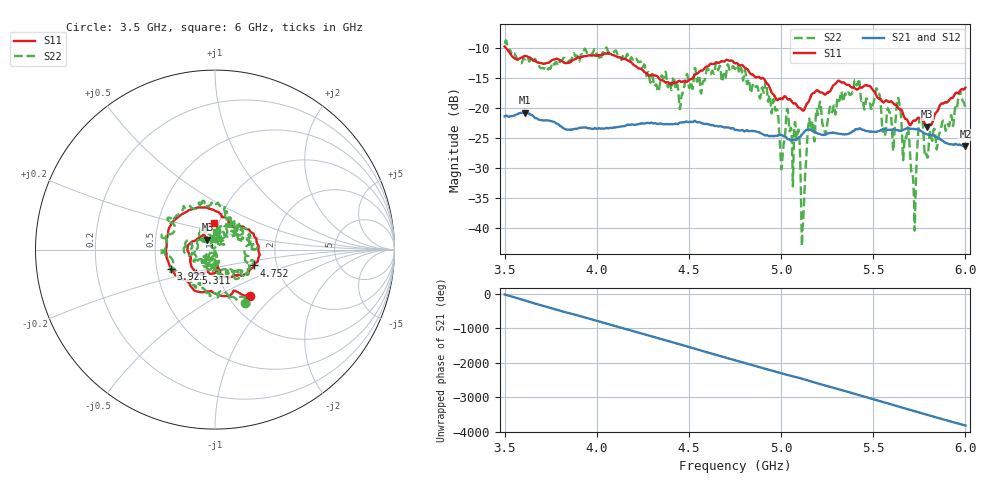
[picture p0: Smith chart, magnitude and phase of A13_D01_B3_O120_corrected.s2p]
! Created with skrf 1.9.0 (http://scikit-rf.org).
# Hz S RI R 50.0
!freq ReS11 ImS11 ReS21 ImS21 ReS12 ImS12 ReS22 ImS22
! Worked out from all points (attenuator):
!   1601 points, 3.5 GHz to 6 GHz, reference 50 ohm
!   highest |S21| = -20.82 dB at 3.609 GHz (marker M1); lowest = -26.5 dB at 6 GHz (marker M2)
!   lowest |S11| = -23.2 dB at 5.791 GHz (marker M3), VSWR 1.15, Z = 45.7 + j5.08 ohm
!   |S11| at or under -10 dB: 3.505 GHz to end of sweep
!   |S22| runs from -43.1 to -8.8 dB; largest |S21 - S12| = 0.0013
!   S11 on the Smith chart (normalised r, x): 3.5 GHz: 1.25, -0.72; 3.923 GHz: 0.60, -0.14; 4.752 GHz: 1.52, -0.28; 5.311 GHz: 0.78, -0.21; 6 GHz: 0.95, +0.28
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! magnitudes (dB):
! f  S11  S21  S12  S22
! 3.5 GHz  -9.8  -21.5  -21.5  -9.3
! 3.609 GHz  -11.4  -20.8  -20.9  -11.9
! 3.917 GHz  -11.6  -23.3  -23.3  -11.1
! 3.923 GHz  -11.5  -23.3  -23.3  -11.1
! 4.334 GHz  -15.0  -22.7  -22.7  -17.3
! 4.75 GHz  -12.6  -23.7  -23.7  -13.6
! 4.752 GHz  -12.6  -23.7  -23.7  -13.5
! 4.969 GHz  -18.3  -24.7  -24.7  -20.4
! 5.005 GHz  -18.5  -24.6  -24.6  -29.4
! 5.033 GHz  -18.5  -25.2  -25.1  -20.2
! 5.086 GHz  -19.6  -25.3  -25.3  -25.2
! 5.119 GHz  -20.5  -24.3  -24.2  -39.5
! 5.145 GHz  -19.2  -23.6  -23.6  -23.7
! 5.167 GHz  -17.7  -23.8  -23.8  -22.7
! 5.311 GHz  -15.5  -24.3  -24.3  -18.5
! 5.584 GHz  -19.0  -23.7  -23.7  -20.4
! 5.611 GHz  -19.4  -23.6  -23.5  -26.4
! 5.641 GHz  -20.2  -23.9  -23.8  -19.1
! 5.719 GHz  -22.2  -23.6  -23.5  -33.4
! 5.755 GHz  -21.9  -23.8  -23.8  -21.8
! 5.791 GHz  -23.2  -24.4  -24.4  -27.9
! 6 GHz  -16.7  -26.5  -26.4  -20.0
